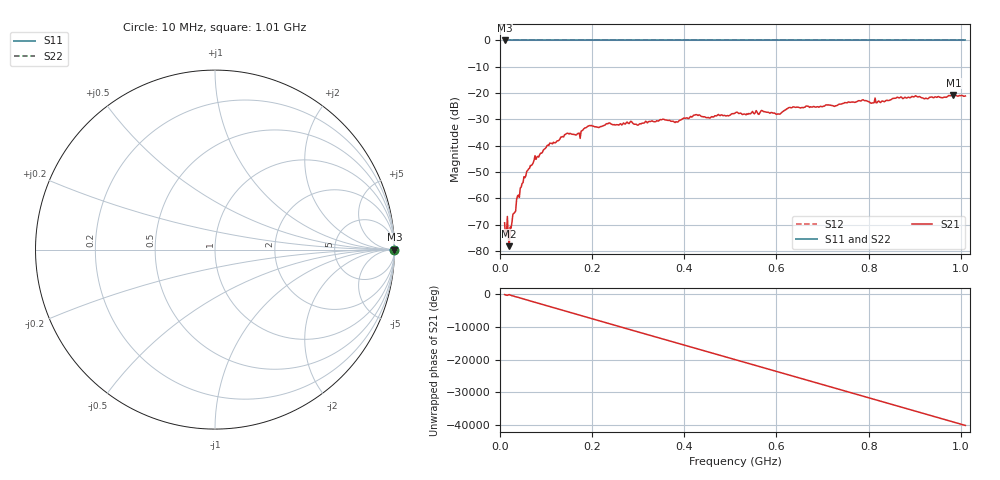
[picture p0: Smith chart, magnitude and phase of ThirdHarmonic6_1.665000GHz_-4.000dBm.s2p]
! 8/16/2025 7:57:12 PM
! C:\ANRITSUVNA\TEMP\TEMP.S2P
! CHANNEL.1
! TR.MEASUREMENT
! RAW.DATA
! RF.CORRECTION.OFF
! AVERAGING.OFF
! IF.BANDWIDTH: 5KHZ
! SWEEPTYPE:  FREQ.SWEEP(Linear)
! Reference Plane Port Info
! PORT:  PORT1  PORT2
! DISTANCE:  0  m  0  m
! TIME:  0  s  0  s
! PHASE.OFFSET:  0  deg.  0  deg.
! LOSS:  0  dB  0  dB
! REF.LOSS:  0  dB  0  dB
! REF.FREQ:  0  Hz  0  Hz
! Power Info
! POWER:  -20  dBm  -20  dBm
! EFF.POWER:  -20  dBm  -20  dBm
! SOURCE.ATTEN:  0  dB  0  dB
! TEST.ATTEN:  0  dB  0  dB
# GHZ S RI R 50.0
! FREQ.GHZ  S11RE  S11IM  S21RE  S21IM  S12RE  S12IM  S22RE  S22IM
!; PortSelection: Port_12
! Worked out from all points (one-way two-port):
!   501 points, 10 MHz to 1.01 GHz, reference 50 ohm
!   highest |S21| = -20.72 dB at 984 MHz (marker M1); lowest = -78.1 dB at 20 MHz (marker M2)
!   lowest |S11| = 0.0 dB at 10 MHz (marker M3)
!   |S11| at or under -10 dB: nowhere
!   |S22| runs from 0.0 to 0.0 dB; largest |S21 - S12| = 1.1
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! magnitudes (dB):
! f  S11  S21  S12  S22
! 10 MHz  0.0  -69.3  0.0  0.0
! 12 MHz  0.0  -74.5  0.0  0.0
! 16 MHz  0.0  -66.8  0.0  0.0
! 20 MHz  0.0  -78.1  0.0  0.0
! 22 MHz  0.0  -70.9  0.0  0.0
! 26 MHz  0.0  -69.0  0.0  0.0
! 48 MHz  0.0  -54.3  0.0  0.0
! 78 MHz  0.0  -45.1  0.0  0.0
! 144 MHz  0.0  -35.4  0.0  0.0
! 178 MHz  0.0  -34.3  0.0  0.0
! 194 MHz  0.0  -32.3  0.0  0.0
! 344 MHz  0.0  -30.6  0.0  0.0
! 382 MHz  0.0  -30.8  0.0  0.0
! 424 MHz  0.0  -28.2  0.0  0.0
! 452 MHz  0.0  -29.3  0.0  0.0
! 510 MHz  0.0  -27.6  0.0  0.0
! 604 MHz  0.0  -27.9  0.0  0.0
! 632 MHz  0.0  -25.6  0.0  0.0
! 678 MHz  0.0  -25.3  0.0  0.0
! 844 MHz  0.0  -22.8  0.0  0.0
! 984 MHz  0.0  -20.7  0.0  0.0
! 1.01 GHz  0.0  -21.1  0.0  0.0
